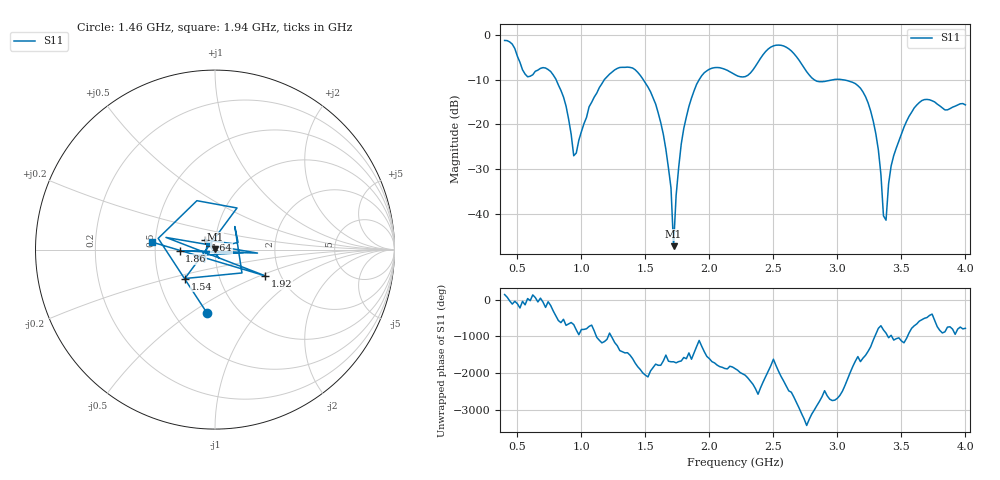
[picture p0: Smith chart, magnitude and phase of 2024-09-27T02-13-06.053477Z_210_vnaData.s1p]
!Created with skrf (http://scikit-rf.org).
# Hz S RI R 50.0
!freq ReS11 ImS11
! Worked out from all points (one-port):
!   181 points, 400 MHz to 4 GHz, reference 50 ohm
!   lowest |S11| = -47.2 dB at 1.72 GHz (marker M1), VSWR 1.01, Z = 49.8 + j0.398 ohm
!   |S11| at or under -10 dB: 802.6 MHz to 1.178 GHz (375.8 MHz wide, 37.9 % of centre); 1.484 GHz to 1.92 GHz (435.8 MHz wide, 25.6 % of centre); 3.043 GHz to end of sweep (the widest 3 of 4)
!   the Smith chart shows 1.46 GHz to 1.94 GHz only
!   S11 on the Smith chart (normalised r, x): 1.46 GHz: 0.72, -0.58; 1.54 GHz: 0.68, -0.23; 1.64 GHz: 0.89, +0.10; 1.86 GHz: 0.67, -0.01; 1.92 GHz: 1.67, -0.54; 1.94 GHz: 0.48, +0.05
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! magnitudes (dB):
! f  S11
! 400 MHz  -1.2
! 580 MHz  -9.3
! 720 MHz  -7.4
! 860 MHz  -13.8
! 940 MHz  -27.0
! 1.06 GHz  -16.0
! 1.3 GHz  -7.2
! 1.46 GHz  -9.0
! 1.54 GHz  -12.7
! 1.64 GHz  -22.2
! 1.7 GHz  -34.2
! 1.72 GHz  -47.2
! 1.76 GHz  -29.6
! 1.86 GHz  -14.1
! 1.92 GHz  -10.0
! 1.94 GHz  -9.1
! 2.2 GHz  -8.8
! 2.5 GHz  -2.4
! 2.66 GHz  -4.1
! 2.84 GHz  -10.3
! 3.1 GHz  -10.4
! 3.26 GHz  -17.0
! 3.32 GHz  -25.7
! 3.36 GHz  -40.4
! 3.38 GHz  -41.4
! 3.42 GHz  -29.2
! 3.56 GHz  -18.2
! 4 GHz  -15.6
